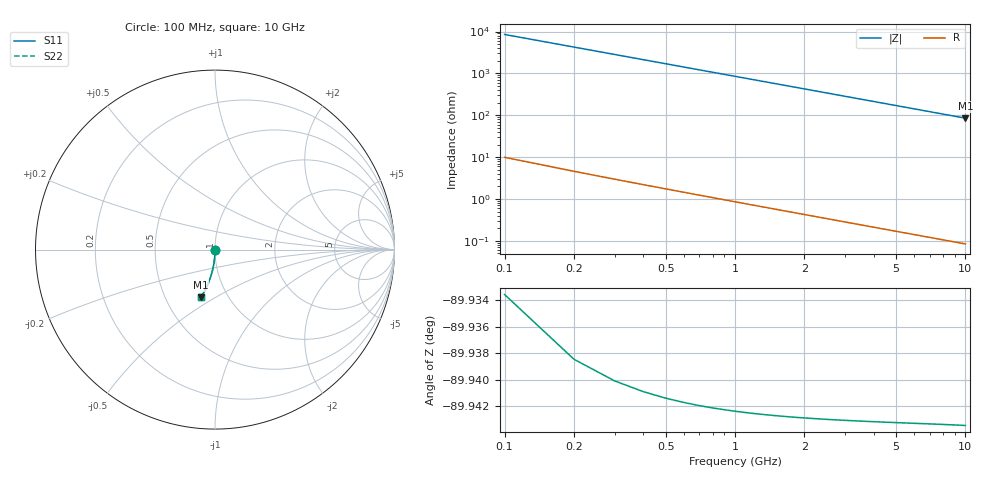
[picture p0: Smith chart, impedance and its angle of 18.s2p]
# Hz S RI R 50.00
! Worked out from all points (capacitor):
!   100 points, 100 MHz to 10 GHz, reference 50 ohm
!   read as one part in shunt: C = 187 fF near 100 MHz
!   lowest |Z| = 85.3 ohm at 10 GHz (marker M1)
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1e8  6.73e-06 -0.0029  1 -0.00297  1 -0.00297  6.73e-06 -0.0029
2e8  -2.19e-05 -0.00581  0.9999 -0.00593  0.9999 -0.00593  -2.19e-05 -0.00581
3e8  -6.77e-05 -0.00871  0.9999 -0.0089  0.9999 -0.0089  -6.77e-05 -0.00871
4e8  -0.000131 -0.0116  0.9998 -0.0119  0.9998 -0.0119  -0.000131 -0.0116
5e8  -0.000211 -0.0145  0.9998 -0.0148  0.9998 -0.0148  -0.000211 -0.0145
6e8  -0.000309 -0.0174  0.9997 -0.0178  0.9997 -0.0178  -0.000309 -0.0174
7e8  -0.000423 -0.0203  0.9995 -0.0208  0.9995 -0.0208  -0.000423 -0.0203
8e8  -0.000555 -0.0232  0.9994 -0.0237  0.9994 -0.0237  -0.000555 -0.0232
9e8  -0.000704 -0.0261  0.9993 -0.0267  0.9993 -0.0267  -0.000704 -0.0261
1.1e9  -0.00105 -0.0319  0.9989 -0.0326  0.9989 -0.0326  -0.00105 -0.0319
1.4e9  -0.00171 -0.0406  0.9983 -0.0415  0.9983 -0.0415  -0.00171 -0.0406
1.8e9  -0.00281 -0.0521  0.9971 -0.0533  0.9971 -0.0533  -0.00281 -0.0521
2.1e9  -0.00382 -0.0607  0.9961 -0.0621  0.9961 -0.0621  -0.00382 -0.0607
2.5e9  -0.00541 -0.0722  0.9946 -0.0738  0.9946 -0.0738  -0.00541 -0.0722
2.9e9  -0.00725 -0.0835  0.9927 -0.0854  0.9927 -0.0854  -0.00725 -0.0835
3.4e9  -0.00993 -0.0977  0.99 -0.0999  0.99 -0.0999  -0.00993 -0.0977
4.2e9  -0.0151 -0.12  0.9849 -0.1227  0.9849 -0.1227  -0.0151 -0.12
5.1e9  -0.022 -0.1447  0.9779 -0.148  0.9779 -0.148  -0.022 -0.1447
5.9e9  -0.0292 -0.1661  0.9707 -0.1699  0.9707 -0.1699  -0.0292 -0.1661
6.7e9  -0.0374 -0.1871  0.9626 -0.1914  0.9626 -0.1914  -0.0374 -0.1871
8.4e9  -0.0574 -0.2295  0.9425 -0.235  0.9425 -0.235  -0.0574 -0.2295
1e10  -0.0795 -0.2668  0.9205 -0.2733  0.9205 -0.2733  -0.0795 -0.2668
